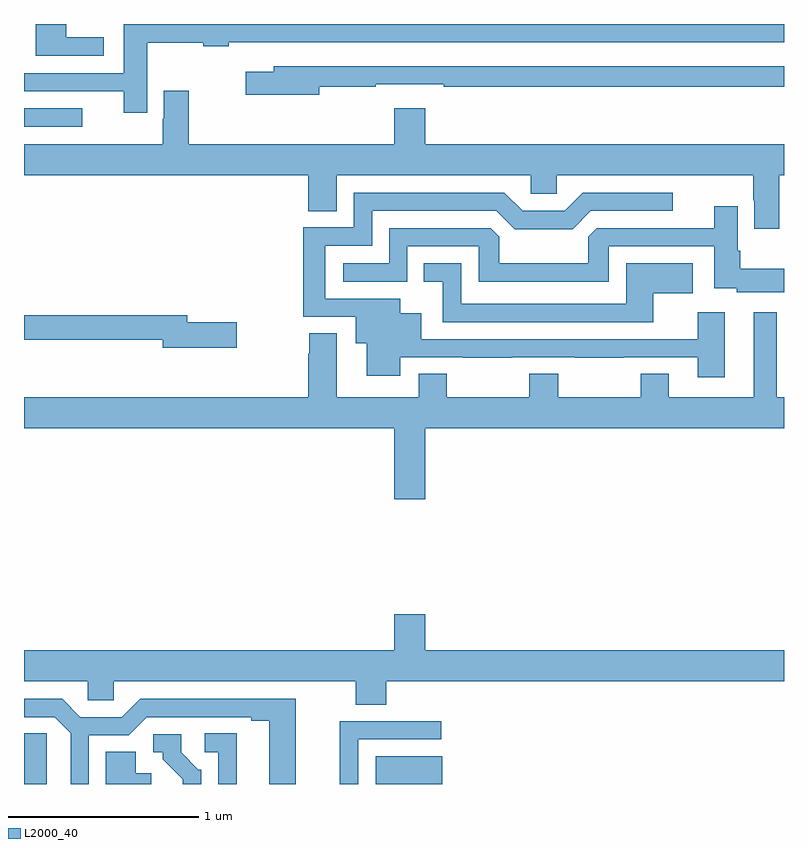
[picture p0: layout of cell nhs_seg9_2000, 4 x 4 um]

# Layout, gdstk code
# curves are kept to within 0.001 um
import gdstk
lib = gdstk.Library(unit=1e-6, precision=1e-09)
def R(c, l, rs):  # rectangles x0, y0, x1, y1
    for r in rs: c.add(gdstk.rectangle(r[:2], r[2:], *l))
def P(c, l, *ps):  # polygons
    for p in ps: c.add(gdstk.Polygon(p, *l))
L2000_40 = (2000, 40)

nhs_seg9_2000 = lib.new_cell('nhs_seg9_2000')
R(nhs_seg9_2000, L2000_40, [(224.85,1242.5,225.202,1242.646), (223,1245.96,223.306,1246.056)])
P(nhs_seg9_2000, L2000_40, [(223.42,1246.429),(223.222,1246.429),(223.222,1246.5),(223.061,1246.5),(223.061,1246.332),(223.42,1246.332)],
  [(223.648,1246.402),(223.944,1246.402),(223.944,1246.384),(224.078,1246.384),(224.078,1246.404),(227,1246.404),(227,1246.5),(223.526,1246.5),(223.526,1246.242),(223,1246.242),(223,1246.146),(223.526,1246.146),(223.526,1246.032),(223.648,1246.032)],
  [(224.554,1246.17),(224.852,1246.17),(224.852,1246.182),(225.208,1246.182),(225.208,1246.17),(227,1246.17),(227,1246.278),(224.315,1246.278),(224.315,1246.249),(224.166,1246.249),(224.166,1246.127),(224.554,1246.127)],
  [(226.976,1245.704),(227,1245.704),(227,1245.868),(225.112,1245.868),(225.112,1246.057),(224.948,1246.057),(224.948,1245.868),(223.868,1245.868),(223.868,1246.15),(223.736,1246.15),(223.736,1246.001),(223.729,1246.001),(223.729,1245.868),(223,1245.868),(223,1245.704),(224.495,1245.704),(224.495,1245.514),(224.647,1245.514),(224.647,1245.704),(225.666,1245.704),(225.666,1245.606),(225.804,1245.606),(225.804,1245.704),(226.837,1245.704),(226.837,1245.572),(226.844,1245.572),(226.844,1245.423),(226.976,1245.423)],
  [(226.687,1244.983),(226.547,1244.983),(226.547,1244.841),(225.091,1244.841),(225.091,1244.977),(224.98,1244.977),(224.98,1245.054),(224.586,1245.054),(224.586,1245.333),(224.832,1245.333),(224.832,1245.516),(225.486,1245.516),(225.584,1245.419),(225.887,1245.419),(225.984,1245.516),(226.414,1245.516),(226.414,1245.612),(225.942,1245.612),(225.846,1245.516),(225.624,1245.516),(225.528,1245.612),(224.736,1245.612),(224.736,1245.429),(224.47,1245.429),(224.47,1244.958),(224.747,1244.958),(224.747,1244.819),(224.804,1244.819),(224.804,1244.648),(224.98,1244.648),(224.98,1244.745),(226.547,1244.745),(226.547,1244.64),(226.687,1244.64)],
  [(227,1245.211),(226.769,1245.211),(226.769,1245.307),(226.756,1245.307),(226.756,1245.541),(226.634,1245.541),(226.634,1245.426),(226.014,1245.426),(225.969,1245.381),(225.969,1245.242),(225.501,1245.242),(225.501,1245.381),(225.456,1245.426),(224.922,1245.426),(224.922,1245.24),(224.679,1245.24),(224.679,1245.144),(225.018,1245.144),(225.018,1245.33),(225.393,1245.33),(225.393,1245.144),(226.077,1245.144),(226.077,1245.33),(226.634,1245.33),(226.634,1245.11),(226.752,1245.11),(226.752,1245.089),(227,1245.089)],
  [(226.312,1245.083),(226.519,1245.083),(226.519,1245.241),(226.169,1245.241),(226.169,1245.027),(225.3,1245.027),(225.3,1245.24),(225.103,1245.24),(225.103,1245.143),(225.203,1245.143),(225.203,1244.931),(226.312,1244.931)],
  [(225.112,1244.372),(227,1244.372),(227,1244.536),(226.963,1244.536),(226.963,1244.983),(226.841,1244.983),(226.841,1244.536),(226.393,1244.536),(226.393,1244.66),(226.246,1244.66),(226.246,1244.536),(225.813,1244.536),(225.813,1244.66),(225.658,1244.66),(225.658,1244.536),(225.225,1244.536),(225.225,1244.66),(225.077,1244.66),(225.077,1244.536),(224.647,1244.536),(224.647,1244.873),(224.5,1244.873),(224.5,1244.765),(224.495,1244.765),(224.495,1244.536),(223,1244.536),(223,1244.372),(224.948,1244.372),(224.948,1243.998),(225.112,1243.998)],
  [(224.119,1244.93),(223.858,1244.93),(223.858,1244.966),(223,1244.966),(223,1244.838),(223.73,1244.838),(223.73,1244.795),(224.119,1244.795)],
  [(224.906,1243.04),(227,1243.04),(227,1243.204),(225.112,1243.204),(225.112,1243.393),(224.948,1243.393),(224.948,1243.204),(223,1243.204),(223,1243.04),(223.335,1243.04),(223.335,1242.942),(223.473,1242.942),(223.473,1243.04),(224.746,1243.04),(224.746,1242.916),(224.906,1242.916)],
  [(223.341,1242.756),(223.551,1242.756),(223.647,1242.852),(224.195,1242.852),(224.195,1242.832),(224.291,1242.832),(224.291,1242.5),(224.431,1242.5),(224.431,1242.948),(223.611,1242.948),(223.515,1242.852),(223.297,1242.852),(223.201,1242.948),(223,1242.948),(223,1242.852),(223.161,1242.852),(223.245,1242.768),(223.245,1242.5),(223.341,1242.5)],
  [(224.76,1242.735),(225.196,1242.735),(225.196,1242.831),(224.662,1242.831),(224.662,1242.5),(224.76,1242.5)],
  [(224.119,1242.767),(223.95,1242.767),(223.95,1242.666),(224.022,1242.666),(224.022,1242.5),(224.119,1242.5)],
  [(223.12,1242.659),(223.119,1242.659),(223.119,1242.767),(223,1242.767),(223,1242.5),(223.12,1242.5)],
  [(223.932,1242.576),(223.917,1242.576),(223.827,1242.666),(223.827,1242.762),(223.68,1242.762),(223.68,1242.666),(223.73,1242.666),(223.73,1242.631),(223.835,1242.526),(223.835,1242.5),(223.932,1242.5)],
  [(223.669,1242.556),(223.588,1242.556),(223.588,1242.671),(223.43,1242.671),(223.43,1242.5),(223.669,1242.5)])

lib.write_gds('nhs_seg9_2000.gds')
